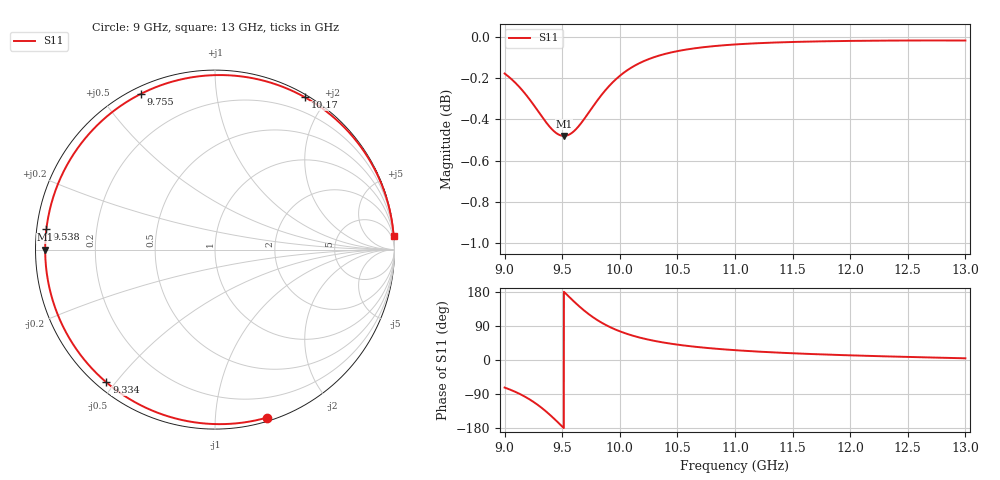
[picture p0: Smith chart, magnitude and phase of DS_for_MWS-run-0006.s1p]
! TOUCHSTONE file generated by CST DESIGN STUDIO
! Date and time: Wed Feb  5 13:37:22 2025
! Project name: C:\Work\MatlabApps\UnitCellOptimizationMatlab\CST\unitcell.cst
! Tree item: Tasks\Sweep1\SPara1\S-Parameters
! Header version: 2024
! Port assignment regex: !\s*Touchstone port\s*([0-9]+)\s*=\s*(CST MWS port|CST DES external port|CST DES block port)\s*(.+)\s* \(\"(.*)\"\)(\s*mode\s*([0-9]+))?.*
! Touchstone port assignment:
! Touchstone port 1 = CST DES external port 1 ("")
# GHz S MA R 50
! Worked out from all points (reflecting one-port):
!   4001 points, 9 GHz to 13 GHz, reference 50 ohm
!   lowest |S11| = -0.5 dB at 9.515 GHz (marker M1), VSWR 36.20, Z = 1.38 + j0.000581 ohm
!   phase of S11 starts at -73 deg and turns -283 deg over the sweep
!   S11 on the Smith chart (normalised r, x): 9 GHz: 0.03, -1.36; 9.334 GHz: 0.03, -0.47; 9.538 GHz: 0.03, +0.06; 9.755 GHz: 0.03, +0.63; 10.17 GHz: 0.03, +1.75; 13 GHz: 1, +25
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9  0.9799 -72.7
9.091  0.9749 -83.8
9.195  0.9676 -100.0
9.268  0.9614 -114.2
9.334  0.9557 -129.3
9.379  0.952 -140.8
9.426  0.9489 -153.8
9.464  0.9471 -164.8
9.5  0.9463 -175.5
9.515  0.9462 180.0
9.538  0.9464 173.1
9.592  0.9482 157.2
9.652  0.9521 140.5
9.703  0.9563 127.5
9.755  0.9609 115.5
9.806  0.9653 105.1
9.861  0.9697 95.3
10  0.9786 75.7
10.081  0.9824 67.1
10.169  0.9855 59.5
10.32  0.9894 49.3
10.5  0.9922 40.6
10.722  0.9944 32.8
11  0.9959 25.9
11.5  0.9973 17.8
12  0.9979 12.3
12.5  0.9982 8.1
13  0.9981 4.5
